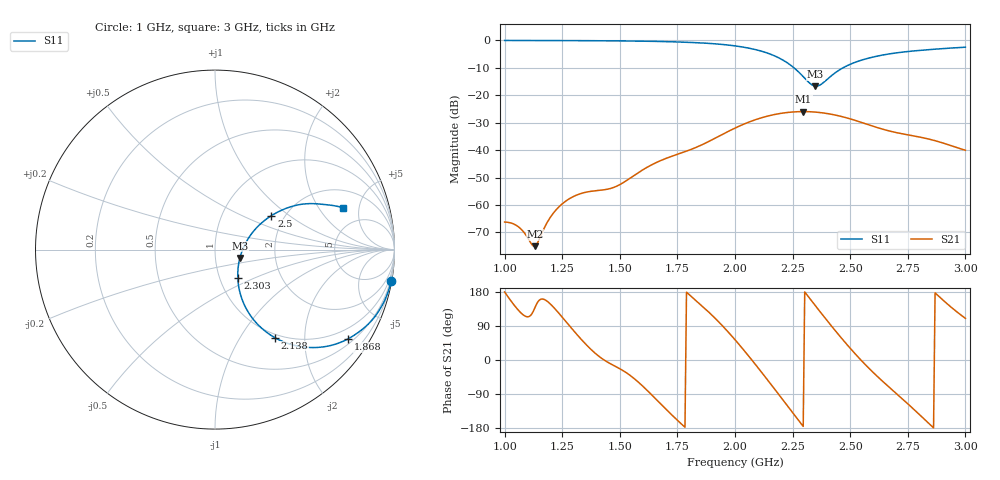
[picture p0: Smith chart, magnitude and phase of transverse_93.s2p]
! TOUCHSTONE file generated by CST MICROWAVE STUDIO
! Date and time: Tue Mar 11 13:56:38 2025
! Project name: transverse.cst
! Parameters = {Fracture=1; B=10; D=160; F=15; Feed=2.85625; L=100; M=30; R=0.384908; S=1; Theta=90; length=57.125; wave=114.25}
! Header version: 2024
! Port assignment regex: !\s*Touchstone port\s*([0-9]+)\s*=\s*(CST MWS port|CST DES external port|CST DES block port)\s*(.+)\s* \(\"(.*)\"\)(\s*mode\s*([0-9]+))?.*
! Touchstone port assignment:
! Touchstone port 1 = CST MWS port 1 ("")
! Touchstone port 2 = CST MWS port 2 ("")
# GHz S MA R 50
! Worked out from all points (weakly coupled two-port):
!   305 points, 1 GHz to 3 GHz, reference 50 ohm
!   highest |S21| = -25.96 dB at 2.296 GHz (marker M1); lowest = -75.0 dB at 1.132 GHz (marker M2)
!   lowest |S11| = -16.7 dB at 2.349 GHz (marker M3), VSWR 1.34, Z = 65.8 - j6.22 ohm
!   |S11| at or under -10 dB: 2.256 GHz to 2.469 GHz (212.8 MHz wide, 9.01 % of centre)
!   S12 and S22 are empty: the file has one direction only
!   S11 on the Smith chart (normalised r, x): 1 GHz: 0, -11; 1.868 GHz: 0.65, -3.16; 2.138 GHz: 0.95, -1.43; 2.303 GHz: 1.22, -0.41; 2.5 GHz: 1.71, +0.75; 3 GHz: 3.22, +3.43
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1  0.9975 -10.0  0.000488 179.5  0 0.0  0 0.0
1.05921  0.9968 -10.8  0.000401 131.7  0 0.0  0 0.0
1.11842  0.9961 -11.7  0.0001898 121.8  0 0.0  0 0.0
1.13158  0.9958 -11.9  0.0001772 138.1  0 0.0  0 0.0
1.18421  0.9946 -12.7  0.0004757 155.3  0 0.0  0 0.0
1.22368  0.9934 -13.4  0.0008168 131.7  0 0.0  0 0.0
1.27632  0.9916 -14.3  0.001262 94.1  0 0.0  0 0.0
1.33553  0.9896 -15.5  0.001635 52.5  0 0.0  0 0.0
1.48026  0.9806 -18.8  0.002141 -16.6  0 0.0  0 0.0
1.67105  0.9564 -24.7  0.006274 -111.9  0 0.0  0 0.0
1.86842  0.892 -33.9  0.0132 136.3  0 0.0  0 0.0
2  0.7943 -43.3  0.0252 53.6  0 0.0  0 0.0
2.13816  0.5927 -55.8  0.04135 -50.1  0 0.0  0 0.0
2.22368  0.3987 -62.0  0.04832 -117.8  0 0.0  0 0.0
2.29605  0.2187 -54.1  0.05037 -175.3  0 0.0  0 0.0
2.30263  0.2046 -51.6  0.05036 179.5  0 0.0  0 0.0
2.33553  0.1533 -30.5  0.04979 153.6  0 0.0  0 0.0
2.34868  0.1463 -18.4  0.04933 143.4  0 0.0  0 0.0
2.5  0.3669 31.0  0.0371 31.0  0 0.0  0 0.0
2.67105  0.5684 26.7  0.02225 -72.8  0 0.0  0 0.0
2.84868  0.682 21.4  0.01561 -171.6  0 0.0  0 0.0
3  0.7516 18.0  0.009947 110.0  0 0.0  0 0.0
